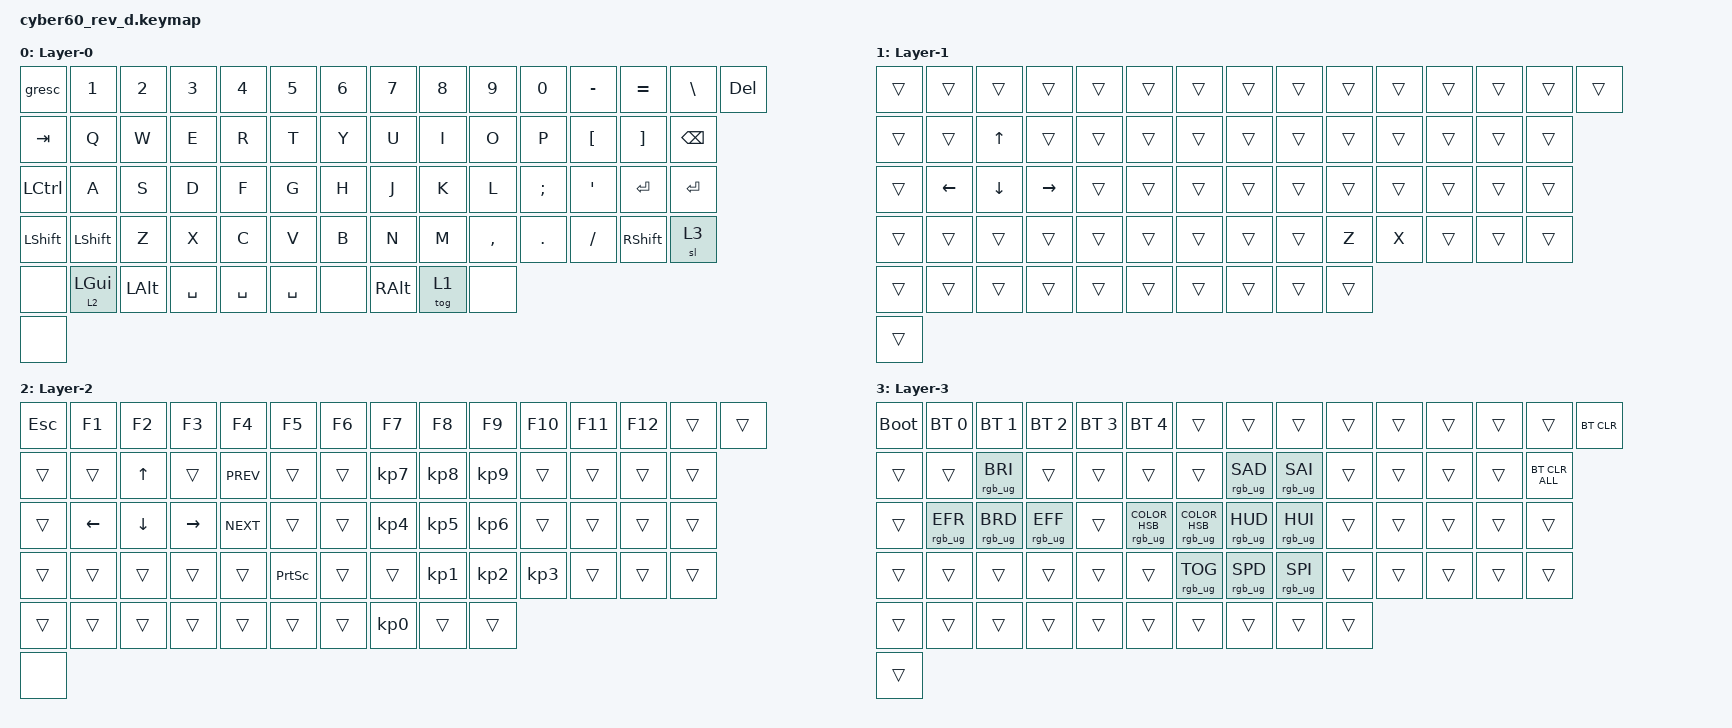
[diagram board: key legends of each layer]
#include <behaviors.dtsi>
#include <dt-bindings/zmk/bt.h>
#include <dt-bindings/zmk/keys.h>
#include <dt-bindings/zmk/rgb.h>

#define FN1 1

/ {
    keymap {
        compatible = "zmk,keymap";

        Layer-0 {
            // Base layer
            // ------------------------------------------------------------------------------------------
            // | ESC |  1  |  2  |  3  |  4  |  5  |  6  |  7  |  8  |  9  |  0  |  -  |  =  |   BKSP   |
            // |  TAB |  Q  |  W  |  E  |  R  |  T  |  Y  |  U  |  I  |  O  |  P  |  [  |  ]  |   "|"   |
            // | CAPS  |  A  |  S  |  D  |  F  |  G  |  H  |  J  |  K  |  L  |  ;  |  '  |NUHS| ENTER   |
            // | SHIFT |NUBS| Z |  X  |  C  |  V  |  B  |  N  |  M  |  ,  |  .  |  /  |    Shift   | FN |
            // |  LCTL  |  LWIN  |  LALT  | SPACE  | SPACE |    SPACE   |  RALT | FN  |   RWIN  | RCTRL |
            // | Rotary | (<-- Rotary switch) ----------------------------------------------------------- 

            bindings = <
&gresc            &kp N1          &kp N2    &kp N3     &kp N4     &kp N5     &kp N6  &kp N7         &kp N8  &kp N9     &kp N0    &kp MINUS  &kp EQUAL  &kp BSLH       &kp DELETE
&kp TAB           &kp Q           &kp W     &kp E      &kp R      &kp T      &kp Y   &kp U          &kp I   &kp O      &kp P     &kp LBKT   &kp RBKT   &kp BACKSPACE
&kp LEFT_CONTROL  &kp A           &kp S     &kp D      &kp F      &kp G      &kp H   &kp J          &kp K   &kp L      &kp SEMI  &kp SQT    &kp ENTER  &kp RET
&kp LSHFT         &kp LEFT_SHIFT  &kp Z     &kp X      &kp C      &kp V      &kp B   &kp N          &kp M   &kp COMMA  &kp DOT   &kp FSLH   &kp RSHFT  &sl 3
&none             &lt 2 LEFT_GUI  &kp LALT  &kp SPACE  &kp SPACE  &kp SPACE  &none   &kp RIGHT_ALT  &tog 1  &none
&none
            >;
        };

        Layer-1 {
            bindings = <
&trans  &trans    &trans    &trans     &trans  &trans  &trans  &trans  &trans  &trans  &trans  &trans  &trans  &trans  &trans
&trans  &trans    &kp UP    &trans     &trans  &trans  &trans  &trans  &trans  &trans  &trans  &trans  &trans  &trans
&trans  &kp LEFT  &kp DOWN  &kp RIGHT  &trans  &trans  &trans  &trans  &trans  &trans  &trans  &trans  &trans  &trans
&trans  &trans    &trans    &trans     &trans  &trans  &trans  &trans  &trans  &kp Z   &kp X   &trans  &trans  &trans
&trans  &trans    &trans    &trans     &trans  &trans  &trans  &trans  &trans  &trans
&trans
            >;
        };

        Layer-2 {
            // Function layer
            // ------------------------------------------------------------------------------------------
            // | RESET | F1 |  F2 |  F3 |  F4 |  F5 |  F6 |  F7 |  F8 |  F9 | F10 | F11 | F12 |TRNS | DEL |
            // |BT_CLR |TRNS | UP  | BT0 | BT1 | BT2 | BT3 | BT4 | TRNS | TRNS | TRNS | TRNS | TRNS | TRNS|
            // | BOOTL  |LEFT |DOWN |RIGHT|TRNS |TRNS |TRNS | TRNS| TRNS |TRNS| TRNS |TRNS | TRNS | TRNS  |
            // | TRNS |TRNS|TRNS|TRNS|TRNS | TRNS| TRNS | TRNS |  TRNS| TRNS | TRNS| TRNS |   TRNS   |TRNS|
            // |  TRNS | TRNS | TRNS |      TRNS      | TRNS |     TRNS     |  TRNS |  TRNS | TRNS | TRNS |
            // | Rotary | (<-- Rotary switch) ----------------------------------------------------------- 

            bindings = <
&kp ESC  &kp F1    &kp F2    &kp F3     &kp F4      &kp F5     &kp F6  &kp F7           &kp F8           &kp F9           &kp F10          &kp F11  &kp F12  &trans  &trans
&trans   &trans    &kp UP    &trans     &kp C_PREV  &trans     &trans  &kp KP_NUMBER_7  &kp KP_NUMBER_8  &kp KP_NUMBER_9  &trans           &trans   &trans   &trans
&trans   &kp LEFT  &kp DOWN  &kp RIGHT  &kp C_NEXT  &trans     &trans  &kp KP_NUMBER_4  &kp KP_NUMBER_5  &kp KP_NUMBER_6  &trans           &trans   &trans   &trans
&trans   &trans    &trans    &trans     &trans      &kp PSCRN  &trans  &trans           &kp KP_NUMBER_1  &kp KP_NUMBER_2  &kp KP_NUMBER_3  &trans   &trans   &trans
&trans   &trans    &trans    &trans     &trans      &trans     &trans  &kp KP_NUMBER_0  &trans           &trans
&none
            >;
        };

        Layer-3 {
            bindings = <
&bootloader  &bt BT_SEL 0     &bt BT_SEL 1     &bt BT_SEL 2     &bt BT_SEL 3  &bt BT_SEL 4                     &trans                            &trans           &trans           &trans  &trans  &trans  &trans  &trans          &bt BT_CLR
&trans       &trans           &rgb_ug RGB_BRI  &trans           &trans        &trans                           &trans                            &rgb_ug RGB_SAD  &rgb_ug RGB_SAI  &trans  &trans  &trans  &trans  &bt BT_CLR_ALL
&trans       &rgb_ug RGB_EFR  &rgb_ug RGB_BRD  &rgb_ug RGB_EFF  &trans        &rgb_ug RGB_COLOR_HSB(37,69,65)  &rgb_ug RGB_COLOR_HSB(151,71,42)  &rgb_ug RGB_HUD  &rgb_ug RGB_HUI  &trans  &trans  &trans  &trans  &trans
&trans       &trans           &trans           &trans           &trans        &trans                           &rgb_ug RGB_TOG                   &rgb_ug RGB_SPD  &rgb_ug RGB_SPI  &trans  &trans  &trans  &trans  &trans
&trans       &trans           &trans           &trans           &trans        &trans                           &trans                            &trans           &trans           &trans
&trans
            >;
        };
    };
};
